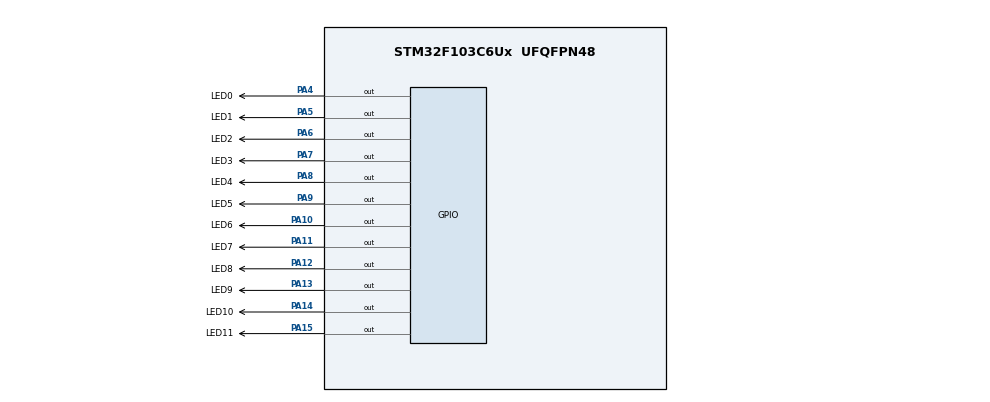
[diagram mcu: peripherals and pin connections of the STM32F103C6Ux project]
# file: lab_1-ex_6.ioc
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Mcu.Family=STM32F1
Mcu.Name=STM32F103C6Ux
Mcu.Package=UFQFPN48
NVIC.PriorityGroup=NVIC_PRIORITYGROUP_4
PA10.GPIO_Label=LED6
PA10.Signal=GPIO_Output
PA11.GPIO_Label=LED7
PA11.Signal=GPIO_Output
PA12.GPIO_Label=LED8
PA12.Signal=GPIO_Output
PA13.GPIO_Label=LED9
PA13.Signal=GPIO_Output
PA14.GPIO_Label=LED10
PA14.Signal=GPIO_Output
PA15.GPIO_Label=LED11
PA15.Signal=GPIO_Output
PA4.GPIO_Label=LED0
PA4.Signal=GPIO_Output
PA5.GPIO_Label=LED1
PA5.Signal=GPIO_Output
PA6.GPIO_Label=LED2
PA6.Signal=GPIO_Output
PA7.GPIO_Label=LED3
PA7.Signal=GPIO_Output
PA8.GPIO_Label=LED4
PA8.Signal=GPIO_Output
PA9.GPIO_Label=LED5
PA9.Signal=GPIO_Output
ProjectManager.HeapSize=0x200
ProjectManager.StackSize=0x400
ProjectManager.TargetToolchain=STM32CubeIDE
RCC.APB1Freq_Value=8000000
RCC.APB2Freq_Value=8000000
VP_SYS_VS_ND.Mode=No_Debug
board=custom

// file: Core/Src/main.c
/* USER CODE BEGIN Header */
/**
  ******************************************************************************
  * @file           : main.c
  * @brief          : Main program body
  ******************************************************************************
  * @attention
  *
  * <h2><center>&copy; Copyright (c) 2022 STMicroelectronics.
  * All rights reserved.</center></h2>
  *
  * This software component is licensed by ST under BSD 3-Clause license,
  * the "License"; You may not use this file except in compliance with the
  * License. You may obtain a copy of the License at:
  *                        opensource.org/licenses/BSD-3-Clause
  *
  ******************************************************************************
  */
/* USER CODE END Header */
#include "main.h"

void SystemClock_Config(void);
static void MX_GPIO_Init(void);

int main(void)
{

  /* MCU Configuration--------------------------------------------------------*/

  /* Reset of all peripherals, Initializes the Flash interface and the Systick. */
  HAL_Init();

  /* USER CODE BEGIN Init */
  int counter = 0;
  int counter_delay = 5;
  /* USER CODE END Init */

  /* Configure the system clock */
  SystemClock_Config();

  /* Initialize all configured peripherals */
  MX_GPIO_Init();

  /* Infinite loop */
  /* USER CODE BEGIN WHILE */
  while (1)
  {
	  HAL_GPIO_WritePin(LED0_GPIO_Port, LED0_Pin, GPIO_PIN_SET);
	  HAL_GPIO_WritePin(LED1_GPIO_Port, LED1_Pin, GPIO_PIN_SET);
	  HAL_GPIO_WritePin(LED2_GPIO_Port, LED2_Pin, GPIO_PIN_SET);
	  HAL_GPIO_WritePin(LED3_GPIO_Port, LED3_Pin, GPIO_PIN_SET);
	  HAL_GPIO_WritePin(LED4_GPIO_Port, LED4_Pin, GPIO_PIN_SET);
	  HAL_GPIO_WritePin(LED5_GPIO_Port, LED5_Pin, GPIO_PIN_SET);
	  HAL_GPIO_WritePin(LED6_GPIO_Port, LED6_Pin, GPIO_PIN_SET);
	  HAL_GPIO_WritePin(LED7_GPIO_Port, LED7_Pin, GPIO_PIN_SET);
	  HAL_GPIO_WritePin(LED8_GPIO_Port, LED8_Pin, GPIO_PIN_SET);
	  HAL_GPIO_WritePin(LED9_GPIO_Port, LED9_Pin, GPIO_PIN_SET);
	  HAL_GPIO_WritePin(LED10_GPIO_Port, LED10_Pin, GPIO_PIN_SET);
	  HAL_GPIO_WritePin(LED11_GPIO_Port, LED11_Pin, GPIO_PIN_SET);
	  if(counter == 0){
		  HAL_GPIO_WritePin(LED0_GPIO_Port, LED0_Pin, GPIO_PIN_RESET);
		  counter++;
	  } else if( counter == 1){
		  HAL_GPIO_WritePin(LED1_GPIO_Port, LED1_Pin, GPIO_PIN_RESET);
		  counter++;
	  } else if( counter == 2){
		  HAL_GPIO_WritePin(LED2_GPIO_Port, LED2_Pin, GPIO_PIN_RESET);
		  counter++;
	  } else if( counter == 3){
		  HAL_GPIO_WritePin(LED3_GPIO_Port, LED3_Pin, GPIO_PIN_RESET);
		  counter++;
	  } else if( counter == 4){
		  HAL_GPIO_WritePin(LED4_GPIO_Port, LED4_Pin, GPIO_PIN_RESET);
		  counter++;
	  } else if( counter == 5){
		  HAL_GPIO_WritePin(LED5_GPIO_Port, LED5_Pin, GPIO_PIN_RESET);
		  counter++;
	  } else if( counter == 6){
		  HAL_GPIO_WritePin(LED6_GPIO_Port, LED6_Pin, GPIO_PIN_RESET);
		  counter++;
	  } else if( counter == 7){
		  HAL_GPIO_WritePin(LED7_GPIO_Port, LED7_Pin, GPIO_PIN_RESET);
		  counter++;
	  } else if( counter == 8){
		  HAL_GPIO_WritePin(LED8_GPIO_Port, LED8_Pin, GPIO_PIN_RESET);
		  counter++;
	  } else if( counter == 9){
		  HAL_GPIO_WritePin(LED9_GPIO_Port, LED9_Pin, GPIO_PIN_RESET);
		  counter++;
	  } else if( counter == 10){
		  HAL_GPIO_WritePin(LED10_GPIO_Port, LED10_Pin, GPIO_PIN_RESET);
		  counter++;
	  } else if( counter == 11){
		  HAL_GPIO_WritePin(LED11_GPIO_Port, LED11_Pin, GPIO_PIN_RESET);
		  counter = 0;
	  }
	  delay5000:
	  HAL_Delay(1000);
	  if(counter_delay > 0){
		  counter_delay--;
		  goto delay5000;
	  }
	  counter_delay = 5;
    /* USER CODE END WHILE */

  }
}

void SystemClock_Config(void)
{
  RCC_OscInitTypeDef RCC_OscInitStruct = {0};
  RCC_ClkInitTypeDef RCC_ClkInitStruct = {0};

  /** Initializes the RCC Oscillators according to the specified parameters
  * in the RCC_OscInitTypeDef structure.
  */
  RCC_OscInitStruct.OscillatorType = RCC_OSCILLATORTYPE_HSI;
  RCC_OscInitStruct.HSIState = RCC_HSI_ON;
  RCC_OscInitStruct.HSICalibrationValue = RCC_HSICALIBRATION_DEFAULT;
  RCC_OscInitStruct.PLL.PLLState = RCC_PLL_NONE;
  if (HAL_RCC_OscConfig(&RCC_OscInitStruct) != HAL_OK)
  {
    Error_Handler();
  }
  /** Initializes the CPU, AHB and APB buses clocks
  */
  RCC_ClkInitStruct.ClockType = RCC_CLOCKTYPE_HCLK|RCC_CLOCKTYPE_SYSCLK
                              |RCC_CLOCKTYPE_PCLK1|RCC_CLOCKTYPE_PCLK2;
  RCC_ClkInitStruct.SYSCLKSource = RCC_SYSCLKSOURCE_HSI;
  RCC_ClkInitStruct.AHBCLKDivider = RCC_SYSCLK_DIV1;
  RCC_ClkInitStruct.APB1CLKDivider = RCC_HCLK_DIV1;
  RCC_ClkInitStruct.APB2CLKDivider = RCC_HCLK_DIV1;

  if (HAL_RCC_ClockConfig(&RCC_ClkInitStruct, FLASH_LATENCY_0) != HAL_OK)
  {
    Error_Handler();
  }
}

static void MX_GPIO_Init(void)
{
  GPIO_InitTypeDef GPIO_InitStruct = {0};

  /* GPIO Ports Clock Enable */
  __HAL_RCC_GPIOA_CLK_ENABLE();

  /*Configure GPIO pin Output Level */
  HAL_GPIO_WritePin(GPIOA, LED0_Pin|LED1_Pin|LED2_Pin|LED3_Pin
                          |LED4_Pin|LED5_Pin|LED6_Pin|LED7_Pin
                          |LED8_Pin|LED9_Pin|LED10_Pin|LED11_Pin, GPIO_PIN_RESET);

  /*Configure GPIO pins : LED0_Pin LED1_Pin LED2_Pin LED3_Pin
                           LED4_Pin LED5_Pin LED6_Pin LED7_Pin
                           LED8_Pin LED9_Pin LED10_Pin LED11_Pin */
  GPIO_InitStruct.Pin = LED0_Pin|LED1_Pin|LED2_Pin|LED3_Pin
                          |LED4_Pin|LED5_Pin|LED6_Pin|LED7_Pin
                          |LED8_Pin|LED9_Pin|LED10_Pin|LED11_Pin;
  GPIO_InitStruct.Mode = GPIO_MODE_OUTPUT_PP;
  GPIO_InitStruct.Pull = GPIO_NOPULL;
  GPIO_InitStruct.Speed = GPIO_SPEED_FREQ_LOW;
  HAL_GPIO_Init(GPIOA, &GPIO_InitStruct);

}

void Error_Handler(void)
{
  __disable_irq();
  while (1)
  {
  }
}

/************************ (C) COPYRIGHT STMicroelectronics *****END OF FILE****/
